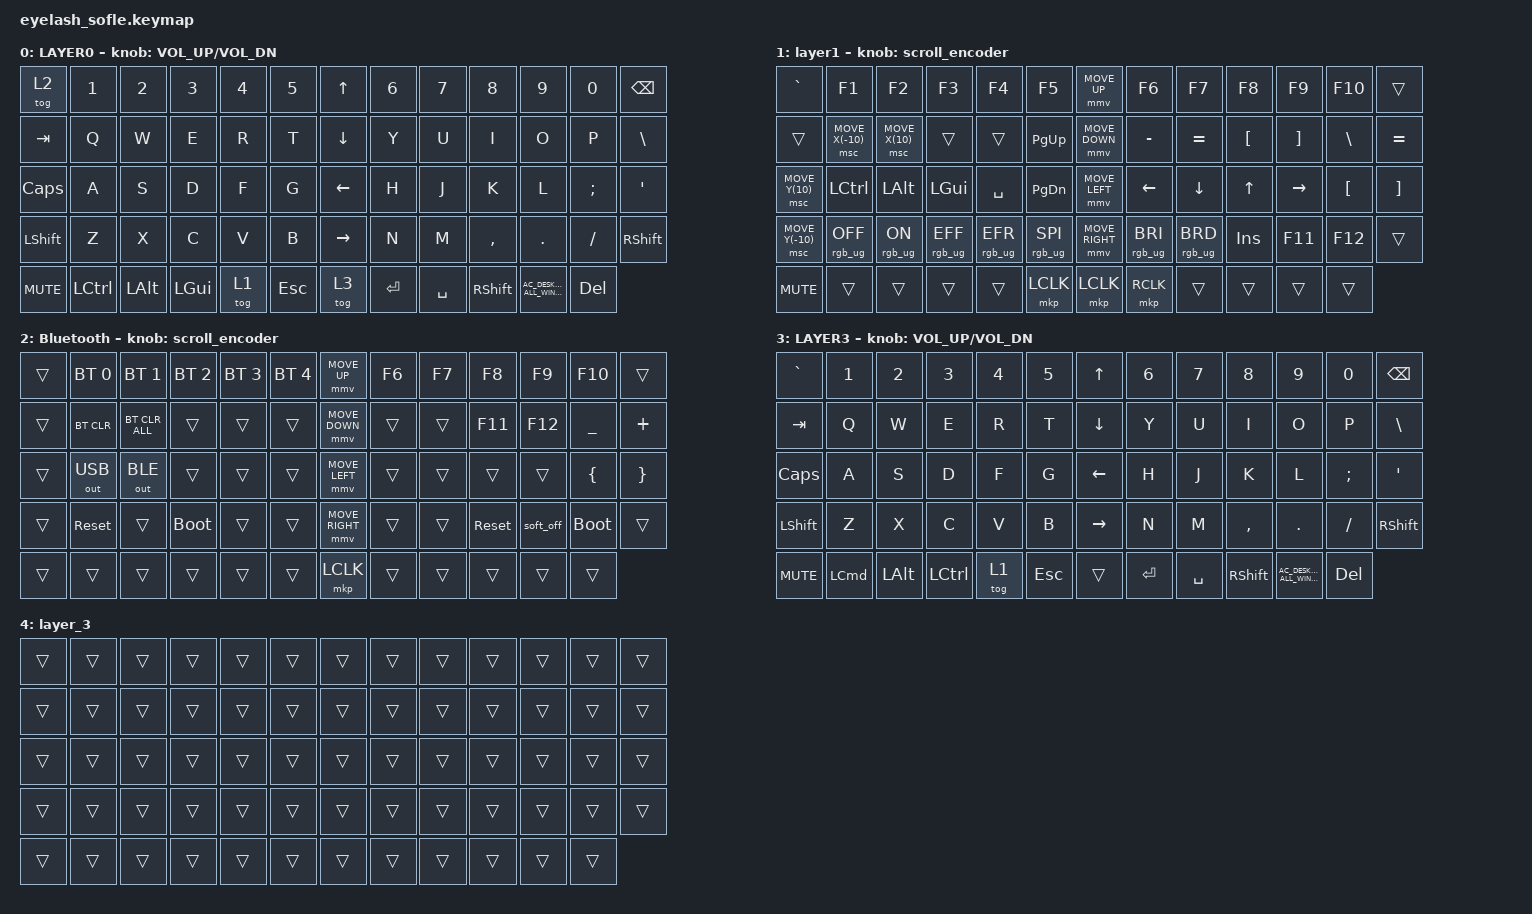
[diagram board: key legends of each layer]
#define ZMK_POINTING_DEFAULT_MOVE_VAL 1200  // 600
#define ZMK_POINTING_DEFAULT_SCRL_VAL 35    // 10

#include <input/processors.dtsi>
#include <zephyr/dt-bindings/input/input-event-codes.h>
#include <behaviors.dtsi>
#include <dt-bindings/zmk/bt.h>
#include <dt-bindings/zmk/keys.h>
#include <dt-bindings/zmk/outputs.h>
#include <dt-bindings/zmk/pointing.h>
#include <dt-bindings/zmk/rgb.h>

/ {
    zip_scroll_scaler: zip_scroll_scaler {
        compatible = "zmk,input-processor-scaler";
        #input-processor-cells = <2>;
        type = <INPUT_EV_REL>;
        codes = <INPUT_REL_WHEEL INPUT_REL_HWHEEL>;
        track-remainders;
    };
};

&mmv_input_listener { input-processors = <&zip_xy_scaler 2 1>; };

&msc_input_listener { input-processors = <&zip_scroll_scaler 2 1>; };

&msc {
    acceleration-exponent = <0>;      // 0
    time-to-max-speed-ms = <0>;       // 300
    delay-ms = <0>;                   // 0
};

&mmv {
    time-to-max-speed-ms = <400>;
    acceleration-exponent = <1>;
};

/ {
    scroll_encoder: scroll_encoder {
        compatible = "zmk,behavior-sensor-rotate";
        #sensor-binding-cells = <0>;
        bindings = <&msc SCRL_DOWN>, <&msc SCRL_UP>;

        tap-ms = <30>;
    };

    behaviors {
    };

    keymap {
        compatible = "zmk,keymap";

        Mac {
            bindings = <
&tog 2          &kp N1     &kp N2    &kp N3    &kp N4  &kp N5     &kp UP_ARROW     &kp N6     &kp N7     &kp N8           &kp N9                             &kp N0      &kp BACKSPACE
&kp TAB         &kp Q      &kp W     &kp E     &kp R   &kp T      &kp DOWN_ARROW   &kp Y      &kp U      &kp I            &kp O                              &kp P       &kp BSLH
&kp CAPSLOCK    &kp A      &kp S     &kp D     &kp F   &kp G      &kp LEFT_ARROW   &kp H      &kp J      &kp K            &kp L                              &kp SEMI    &kp APOS
&kp LEFT_SHIFT  &kp Z      &kp X     &kp C     &kp V   &kp B      &kp RIGHT_ARROW  &kp N      &kp M      &kp COMMA        &kp DOT                            &kp FSLH    &kp RIGHT_SHIFT
&kp C_MUTE      &kp LCTRL  &kp LALT  &kp LGUI  &tog 1  &kp ESC    &tog 3           &kp ENTER  &kp SPACE  &kp RIGHT_SHIFT  &kp C_AC_DESKTOP_SHOW_ALL_WINDOWS  &kp DELETE
            >;

            sensor-bindings = <&inc_dec_kp C_VOLUME_UP C_VOL_DN>;
            display-name = "LAYER0";
        };

        Mouse {
            bindings = <
&kp GRAVE         &kp F1            &kp F2           &kp F3           &kp F4           &kp F5             &mmv MOVE_UP     &kp F6           &kp F7           &kp F8            &kp F9     &kp F10           &trans
&trans            &msc MOVE_X(-10)  &msc MOVE_X(10)  &trans           &trans           &kp PAGE_UP        &mmv MOVE_DOWN   &kp MINUS        &kp EQUAL        &kp LEFT_BRACKET  &kp RBKT   &kp BACKSLASH     &kp EQUAL
&msc MOVE_Y(10)   &kp LEFT_CONTROL  &kp LALT         &kp LGUI         &kp SPACE        &kp PAGE_DOWN      &mmv MOVE_LEFT   &kp LEFT_ARROW   &kp DOWN_ARROW   &kp UP_ARROW      &kp RIGHT  &kp LEFT_BRACKET  &kp RIGHT_BRACKET
&msc MOVE_Y(-10)  &rgb_ug RGB_OFF   &rgb_ug RGB_ON   &rgb_ug RGB_EFF  &rgb_ug RGB_EFR  &rgb_ug RGB_SPI    &mmv MOVE_RIGHT  &rgb_ug RGB_BRI  &rgb_ug RGB_BRD  &kp INSERT        &kp F11    &kp F12           &trans
&kp C_MUTE        &trans            &trans           &trans           &trans           &mkp LCLK          &mkp LCLK        &mkp RCLK        &trans           &trans            &trans     &trans
            >;

            display-name = "layer1";
            sensor-bindings = <&scroll_encoder>;
        };

        Bluetooth {
            bindings = <
&trans  &bt BT_SEL 0  &bt BT_SEL 1    &bt BT_SEL 2  &bt BT_SEL 3  &bt BT_SEL 4    &mmv MOVE_UP     &kp F6  &kp F7  &kp F8      &kp F9     &kp F10      &trans
&trans  &bt BT_CLR    &bt BT_CLR_ALL  &trans        &trans        &trans          &mmv MOVE_DOWN   &trans  &trans  &kp F11     &kp F12    &kp UNDER    &kp PLUS
&trans  &out OUT_USB  &out OUT_BLE    &trans        &trans        &trans          &mmv MOVE_LEFT   &trans  &trans  &trans      &trans     &kp LBRC     &kp RBRC
&trans  &sys_reset    &trans          &bootloader   &trans        &trans          &mmv MOVE_RIGHT  &trans  &trans  &sys_reset  &soft_off  &bootloader  &trans
&trans  &trans        &trans          &trans        &trans        &trans          &mkp LCLK        &trans  &trans  &trans      &trans     &trans
            >;

            sensor-bindings = <&scroll_encoder>;
        };

        windows {
            display-name = "LAYER3";
            bindings = <
&kp GRAVE       &kp N1            &kp N2    &kp N3            &kp N4  &kp N5     &kp UP_ARROW     &kp N6     &kp N7     &kp N8           &kp N9                             &kp N0      &kp BACKSPACE
&kp TAB         &kp Q             &kp W     &kp E             &kp R   &kp T      &kp DOWN_ARROW   &kp Y      &kp U      &kp I            &kp O                              &kp P       &kp BSLH
&kp CAPSLOCK    &kp A             &kp S     &kp D             &kp F   &kp G      &kp LEFT_ARROW   &kp H      &kp J      &kp K            &kp L                              &kp SEMI    &kp APOS
&kp LEFT_SHIFT  &kp Z             &kp X     &kp C             &kp V   &kp B      &kp RIGHT_ARROW  &kp N      &kp M      &kp COMMA        &kp DOT                            &kp FSLH    &kp RIGHT_SHIFT
&kp C_MUTE      &kp LEFT_COMMAND  &kp LALT  &kp LEFT_CONTROL  &tog 1  &kp ESC    &trans           &kp ENTER  &kp SPACE  &kp RIGHT_SHIFT  &kp C_AC_DESKTOP_SHOW_ALL_WINDOWS  &kp DELETE
            >;

            sensor-bindings = <&inc_dec_kp C_VOLUME_UP C_VOL_DN>;
        };

        layer_3 {
            bindings = <
&trans  &trans  &trans  &trans  &trans  &trans    &trans  &trans  &trans  &trans  &trans  &trans  &trans
&trans  &trans  &trans  &trans  &trans  &trans    &trans  &trans  &trans  &trans  &trans  &trans  &trans
&trans  &trans  &trans  &trans  &trans  &trans    &trans  &trans  &trans  &trans  &trans  &trans  &trans
&trans  &trans  &trans  &trans  &trans  &trans    &trans  &trans  &trans  &trans  &trans  &trans  &trans
&trans  &trans  &trans  &trans  &trans  &trans    &trans  &trans  &trans  &trans  &trans  &trans
            >;
        };
    };
};
